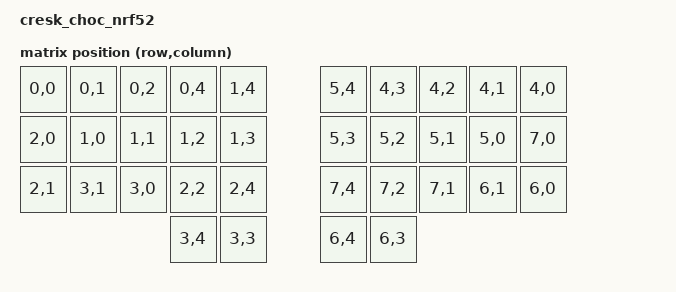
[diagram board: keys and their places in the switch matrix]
/*
 * Copyright (c) 2023 The ZMK Contributors
 *
 * SPDX-License-Identifier: MIT
 */

#include <dt-bindings/zmk/matrix_transform.h>

/ {
	model = "cresk_choc_nrf52";
	compatible = "cresk,cresk_choc_nrf52";

	chosen {
		zephyr,code-partition = &code_partition;
		zephyr,sram = &sram0;
		zephyr,flash = &flash0;
		zephyr,console = &cdc_acm_uart;
		zmk,battery = &vbatt;
		zmk,kscan = &kscan0;
		zmk,matrix_transform = &default_transform;
	};

	vbatt: vbatt {
		compatible = "zmk,battery-nrf-vddh";
		label = "BATTERY";
	};

	default_transform: keymap_transform_0 {
		compatible = "zmk,matrix-transform";
		columns = <5>;
		rows = <8>;
		map = <
RC(0,0) RC(0,1) RC(0,2) RC(0,4) RC(1,4)    RC(5,4) RC(4,3) RC(4,2) RC(4,1) RC(4,0)
RC(2,0) RC(1,0) RC(1,1) RC(1,2) RC(1,3)    RC(5,3) RC(5,2) RC(5,1) RC(5,0) RC(7,0)
RC(2,1) RC(3,1) RC(3,0) RC(2,2) RC(2,4)    RC(7,4) RC(7,2) RC(7,1) RC(6,1) RC(6,0)
                        RC(3,4) RC(3,3)    RC(6,4) RC(6,3)
		>;
	};

    kscan0: kscan {

    };
};

&adc {
	status = "okay";
};

&gpiote {
	status = "okay";
};

&gpio0 {
	status = "okay";
};

&gpio1 {
	status = "okay";
};

&usbd {
	status = "okay";
	cdc_acm_uart: cdc_acm_uart {
		compatible = "zephyr,cdc-acm-uart";
		label = "CDC_ACM_0";
	};
};
